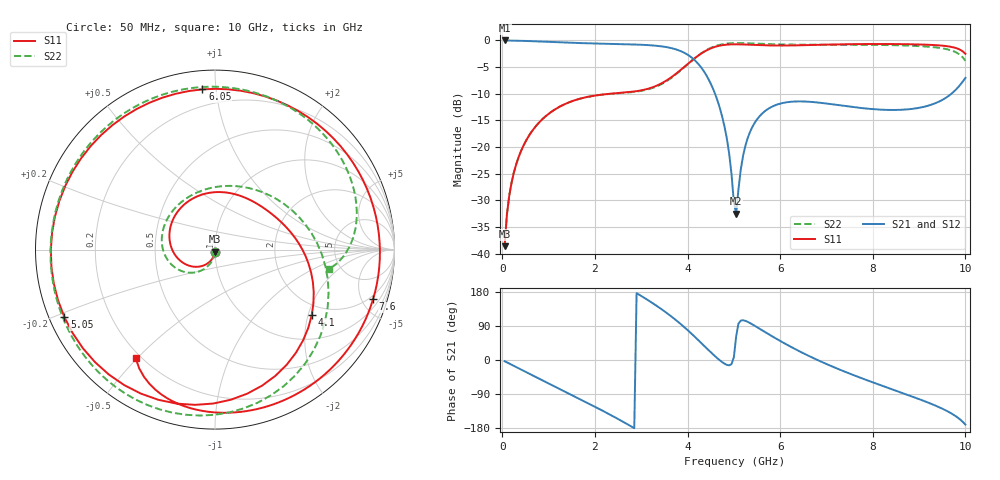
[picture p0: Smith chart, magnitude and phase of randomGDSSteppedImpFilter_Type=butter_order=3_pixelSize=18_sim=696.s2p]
! freq	dB(S11)	phase(S11)	dB(S12)	phase(S12)
!  dB(S21)	phase(S21)	dB(S22)	phase(S22)
!S-par simulation data
#  GHz  S  DB  R 50
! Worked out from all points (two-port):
!   200 points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, 50 MHz to 10 GHz, reference 50 ohm
!   highest |S21| = -0.01 dB at 50 MHz (marker M1); lowest = -32.5 dB at 5.05 GHz (marker M2)
!   |S21| within 3 dB of the highest: start of sweep to 4.057 GHz
!   lowest |S11| = -38.6 dB at 50 MHz (marker M3), VSWR 1.02, Z = 49.9 - j1.17 ohm
!   |S11| at or under -10 dB: start of sweep to 2.34 GHz
!   |S22| runs from -38.6 to -0.5 dB; largest |S21 - S12| = 0
!   S11 on the Smith chart (normalised r, x): 50 MHz: 1.00, -0.02; 4.1 GHz: 1.66, -2.11; 5.05 GHz: 0.04, -0.21; 6.05 GHz: 0.10, +0.92; 7.6 GHz: 1.64, -6.11; 10 GHz: 0.18, -0.49
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0.05  -38.61 -93.1  -0.01 -3.2  -0.01 -3.2  -38.59 -92.0
0.2  -26.70 -104.5  -0.03 -12.5  -0.03 -12.5  -26.69 -100.4
0.5  -19.03 -126.7  -0.10 -31.0  -0.10 -31.0  -19.01 -116.3
1.15  -12.88 -173.7  -0.32 -70.9  -0.32 -70.9  -12.87 -149.4
1.75  -10.78 142.9  -0.51 -107.7  -0.51 -107.7  -10.78 -179.6
2.65  -9.77 77.7  -0.71 -165.9  -0.71 -165.9  -9.82 129.2
3.4  -8.23 26.5  -1.07 137.3  -1.07 137.3  -8.36 66.3
3.75  -6.26 0.1  -1.68 105.3  -1.68 105.3  -6.37 27.5
4.1  -3.72 -34.2  -3.29 67.9  -3.29 67.9  -3.75 -14.7
4.35  -2.16 -64.4  -5.75 38.4  -5.75 38.4  -2.11 -45.4
4.6  -1.19 -97.3  -10.14 9.3  -10.14 9.3  -1.06 -74.4
4.85  -0.79 -130.4  -18.49 -12.9  -18.49 -12.9  -0.59 -100.0
5.05  -0.73 -155.8  -32.51 62.4  -32.51 62.4  -0.49 -117.5
5.2  -0.76 -174.1  -21.62 104.9  -21.62 104.9  -0.50 -129.0
5.35  -0.81 168.3  -17.16 97.5  -17.16 97.5  -0.55 -139.4
5.7  -0.93 129.6  -13.08 71.8  -13.08 71.8  -0.67 -160.3
6.05  -0.96 94.5  -11.75 46.9  -11.75 46.9  -0.75 -178.1
6.7  -0.85 39.4  -11.56 6.0  -11.56 6.0  -0.80 152.3
7.6  -0.70 -17.4  -12.53 -40.6  -12.53 -40.6  -0.80 113.4
8.35  -0.67 -52.9  -13.04 -74.4  -13.04 -74.4  -0.87 80.3
9.4  -0.91 -94.8  -11.60 -122.8  -11.60 -122.8  -1.35 29.1
10  -2.51 -126.2  -7.04 -170.5  -7.04 -170.5  -3.83 -9.9
